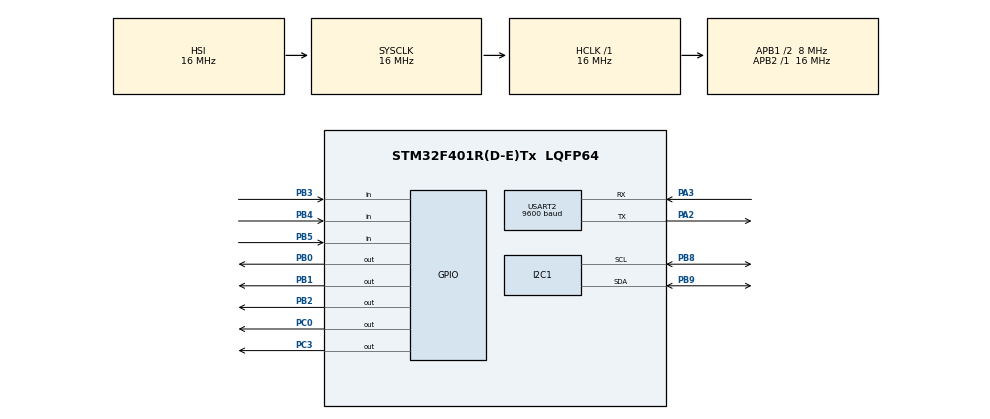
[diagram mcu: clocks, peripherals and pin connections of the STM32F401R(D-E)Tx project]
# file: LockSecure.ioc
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Mcu.Family=STM32F4
Mcu.Name=STM32F401R(D-E)Tx
Mcu.Package=LQFP64
NVIC.PriorityGroup=NVIC_PRIORITYGROUP_4
PA13.Mode=Serial_Wire
PA13.Signal=SYS_JTMS-SWDIO
PA14.Mode=Serial_Wire
PA14.Signal=SYS_JTCK-SWCLK
PA2.Mode=Asynchronous
PA2.Signal=USART2_TX
PA3.Mode=Asynchronous
PA3.Signal=USART2_RX
PB0.Signal=GPIO_Output
PB1.Signal=GPIO_Output
PB2.Signal=GPIO_Output
PB3.GPIO_PuPd=GPIO_PULLUP
PB3.Signal=GPIO_Input
PB4.GPIO_PuPd=GPIO_PULLUP
PB4.Signal=GPIO_Input
PB5.GPIO_PuPd=GPIO_PULLUP
PB5.Signal=GPIO_Input
PB8.Mode=I2C
PB8.Signal=I2C1_SCL
PB9.Mode=I2C
PB9.Signal=I2C1_SDA
PC0.Signal=GPIO_Output
PC3.Signal=GPIO_Output
ProjectManager.HeapSize=0x200
ProjectManager.StackSize=0x400
ProjectManager.TargetToolchain=STM32CubeIDE
RCC.48MHZClocksFreq_Value=84000000
RCC.AHBFreq_Value=16000000
RCC.APB1CLKDivider=RCC_HCLK_DIV2
RCC.APB1Freq_Value=8000000
RCC.APB1TimFreq_Value=16000000
RCC.APB2Freq_Value=16000000
RCC.APB2TimFreq_Value=16000000
RCC.CortexFreq_Value=16000000
RCC.HCLKFreq_Value=16000000
RCC.HSE_VALUE=25000000
RCC.HSI_VALUE=16000000
RCC.LSE_VALUE=32768
RCC.PLLN=336
RCC.PLLP=RCC_PLLP_DIV4
RCC.SYSCLKFreq_VALUE=16000000
RCC.VCOOutputFreq_Value=336000000
USART2.BaudRate=9600
USART2.VirtualMode=VM_ASYNC
board=custom

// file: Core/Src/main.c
/* USER CODE BEGIN Header */
/**
  ******************************************************************************
  * @file           : main.c
  * @brief          : Main program body
  ******************************************************************************
  * @attention
  *
  * Copyright (c) 2026 STMicroelectronics.
  * All rights reserved.
  *
  * This software is licensed under terms that can be found in the LICENSE file
  * in the root directory of this software component.
  * If no LICENSE file comes with this software, it is provided AS-IS.
  *
  ******************************************************************************
  */
/* USER CODE END Header */
#include "main.h"
#include "i2c.h"
#include "usart.h"
#include "gpio.h"

/* USER CODE BEGIN Includes */
#include <stdio.h>
#include <string.h>
#include "i2c-lcd.h"
#include "sha256.h"
/* USER CODE END Includes */

/* USER CODE BEGIN PV */
char current_password[] = "1234";
char input_buffer[5];
int input_index = 0;

typedef enum {
    LOCKED,
    UNLOCKED,
    CHANGING_PW
} LockState;

LockState system_state = LOCKED;
/* USER CODE END PV */

void SystemClock_Config(void);

/* USER CODE BEGIN 0 */
#ifdef __GNUC__
#define PUTCHAR_PROTOTYPE int __io_putchar(int ch)
#else
#define PUTCHAR_PROTOTYPE int fputc(int ch, FILE *f)
#endif

#define EEPROM_ADDR 0xA0
#define PASS_MEM_ADDR 0x0000
#define MAGIC_BYTE 0x5A

#define SYSTEM_SALT "fP#fSDYi047UD9"

uint8_t current_hash[32];
uint8_t input_hash[32];
char salted_buffer[64];

void save_hash(uint8_t* new_hash) {
    uint8_t buffer[33];
    buffer[0] = MAGIC_BYTE;
    memcpy(&buffer[1], new_hash, 32);

    // Spoon-feed the EEPROM to prevent Page Wrapping
    for(int i = 0; i < 33; i++) {
            HAL_I2C_Mem_Write(&hi2c1, EEPROM_ADDR, PASS_MEM_ADDR + i, I2C_MEMADD_SIZE_16BIT, &buffer[i], 1, 100);
            HAL_Delay(10); // Changed from 5 to 10 to safely beat the 6ms Proteus limit!
    }
}

void load_eeprom(uint8_t* buffer) {
    HAL_I2C_Mem_Read(&hi2c1, EEPROM_ADDR, PASS_MEM_ADDR, I2C_MEMADD_SIZE_16BIT, buffer, 33, 100);
}

void load_hash(uint8_t* hash_buf) {
    HAL_I2C_Mem_Read(&hi2c1, EEPROM_ADDR, PASS_MEM_ADDR, I2C_MEMADD_SIZE_16BIT, hash_buf, 32, 100);
}

PUTCHAR_PROTOTYPE
{
  HAL_UART_Transmit(&huart2, (uint8_t *)&ch, 1, HAL_MAX_DELAY);
  return ch;
}

char keypad_map[3][3] = {
    {'1', '2', '3'},
    {'4', '5', '6'},
    {'7', '8', '9'}
};

char scan_keypad(void) {
    for (int i = 0; i < 3; i++) {
        // Set all rows HIGH
        HAL_GPIO_WritePin(GPIOB, GPIO_PIN_0|GPIO_PIN_1|GPIO_PIN_2, GPIO_PIN_SET);
        // Pull the current row LOW
        HAL_GPIO_WritePin(GPIOB, (GPIO_PIN_0 << i), GPIO_PIN_RESET);

        // Check Columns
        if (HAL_GPIO_ReadPin(GPIOB, GPIO_PIN_3) == GPIO_PIN_RESET) {
            while(HAL_GPIO_ReadPin(GPIOB, GPIO_PIN_3) == GPIO_PIN_RESET);
            return keypad_map[i][0];
        }
        if (HAL_GPIO_ReadPin(GPIOB, GPIO_PIN_4) == GPIO_PIN_RESET) {
            while(HAL_GPIO_ReadPin(GPIOB, GPIO_PIN_4) == GPIO_PIN_RESET);
            return keypad_map[i][1];
        }
        if (HAL_GPIO_ReadPin(GPIOB, GPIO_PIN_5) == GPIO_PIN_RESET) {
            while(HAL_GPIO_ReadPin(GPIOB, GPIO_PIN_5) == GPIO_PIN_RESET);
            return keypad_map[i][2];
        }
    }
    return 0; // No key pressed
}

void save_password(char* new_pass) {

    HAL_I2C_Mem_Write(&hi2c1, EEPROM_ADDR, PASS_MEM_ADDR, I2C_MEMADD_SIZE_16BIT, (uint8_t*)new_pass, 5, 1000);
    HAL_Delay(10);
}

void load_password(char* pass_buf) {
    HAL_I2C_Mem_Read(&hi2c1, EEPROM_ADDR, PASS_MEM_ADDR, I2C_MEMADD_SIZE_16BIT, (uint8_t*)pass_buf, 5, 1000);
}

/* USER CODE END 0 */

int main(void)
{

  /* MCU Configuration--------------------------------------------------------*/

  /* Reset of all peripherals, Initializes the Flash interface and the Systick. */
  HAL_Init();

  /* Configure the system clock */
  SystemClock_Config();

  /* Initialize all configured peripherals */
  MX_GPIO_Init();
  MX_USART2_UART_Init();
  MX_I2C1_Init();
  /* USER CODE BEGIN 2 */

  //HAL_UART_Transmit(&huart2, (uint8_t*)"System Boot\r\n", 13, 100);
  //lcd_init();
  //lcd_send_string("System Ready");
  //HAL_Delay(1000);

  uint8_t eeprom_buffer[33];
    load_eeprom(eeprom_buffer);

    // Check the Magic Byte
    if (eeprom_buffer[0] != MAGIC_BYTE) {
        printf("EEPROM Blank/Corrupt. Initiating Factory Reset...\r\n");

        // 1. Generate the hash for the default PIN "1234"
        sprintf(salted_buffer, "%s%s", SYSTEM_SALT, "1234");

        SHA256_CTX ctx;
        sha256_init(&ctx);
        sha256_update(&ctx, (uint8_t*)salted_buffer, strlen(salted_buffer));
        sha256_final(&ctx, current_hash);

        // 2. Save the Magic Byte + Hash to the EEPROM
        save_hash(current_hash);

        printf("Factory Reset Complete: Default PW set to 1234\r\n");
    } else {
        // Magic Byte matched! Safely extract the 32-byte hash
        memcpy(current_hash, &eeprom_buffer[1], 32);
        printf("Boot: Password Hash loaded from EEPROM.\r\n");
    }

    // Ensure the door is physically locked and alarm is off on boot
    HAL_GPIO_WritePin(GPIOC, GPIO_PIN_0, GPIO_PIN_RESET);
    HAL_GPIO_WritePin(GPIOC, GPIO_PIN_3, GPIO_PIN_RESET);

    printf("\r\n--- SYSTEM LOCKED ---\r\nEnter 4-digit code:\r\n");

    printf("\r\n--- SYSTEM LOCKED ---\r\nEnter 4-digit code:\r\n");

    //lcd_clear();
    //lcd_send_string("Enter Password:");
    //lcd_send_cmd(0xC0);
  /* USER CODE END 2 */

  /* Infinite loop */
  /* USER CODE BEGIN WHILE */
  while (1)
  {
	  char key = scan_keypad();
	        if (key != 0) {
	        	if (system_state == LOCKED) {
	        	              input_buffer[input_index++] = key;
	        	              lcd_send_data('*');
	        	              printf("*"); // RESTORED: Terminal Lifeline

	        	              if (input_index == 4) {
	        	            	  input_buffer[4] = '\0';

	        	            	                    // --- CRYPTO: HASH THE INPUT ---
	        	            	                    sprintf(salted_buffer, "%s%s", SYSTEM_SALT, input_buffer);
	        	            	                    SHA256_CTX ctx;
	        	            	                    sha256_init(&ctx);
	        	            	                    sha256_update(&ctx, (uint8_t*)salted_buffer, strlen(salted_buffer));
	        	            	                    sha256_final(&ctx, input_hash);
	        	            	                    // ------------------------------

	        	            	                    lcd_clear();

	        	            	                    // Compare 32-byte hashes using memcmp
	        	            	                    if (memcmp(input_hash, current_hash, 32) == 0) {
	        	            	                        system_state = UNLOCKED;

	        	            	                        // HARDWARE ACTUATION: UNLOCK (Relay ON)
	        	            	                        HAL_GPIO_WritePin(GPIOC, GPIO_PIN_0, GPIO_PIN_SET);

	        	            	                        lcd_send_string("ACCESS GRANTED");
	        	            	                        printf("\r\nACCESS GRANTED! Door Unlocked.\r\n");
	        	            	                        printf("Menu: 1:Lock | 9:Change PW\r\n");
	        	            	                        HAL_Delay(1500);

	        	            	                        lcd_clear();
	        	            	                        lcd_send_string("1:Lock 9:Change");
	        	            	                    } else {
	        	            	                        lcd_send_string("ACCESS DENIED");
	        	            	                        printf("\r\nACCESS DENIED!\r\n");

	        	            	                        HAL_GPIO_WritePin(GPIOC, GPIO_PIN_3, GPIO_PIN_SET);

	        	            	                        HAL_Delay(1500);

	        	            	                        HAL_GPIO_WritePin(GPIOC, GPIO_PIN_3, GPIO_PIN_RESET);

	        	            	                        lcd_clear();
	        	            	                        lcd_send_string("Enter Password:");
	        	            	                        lcd_send_cmd(0xC0);
	        	                  }
	        	                  input_index = 0;
	        	              }
	        	          }

	        	          else if (system_state == UNLOCKED) {
	        	        	  if (key == '1') {
	        	        	                    system_state = LOCKED;

	        	        	                    // HARDWARE ACTUATION: LOCK (Relay OFF)
	        	        	                    HAL_GPIO_WritePin(GPIOC, GPIO_PIN_0, GPIO_PIN_RESET);

	        	        	                    lcd_clear();
	        	        	                    lcd_send_string("Enter Password:");
	        	        	                    lcd_send_cmd(0xC0);
	        	        	                    printf("\r\n--- SYSTEM LOCKED ---\r\nEnter 4-digit code:\r\n");
	        	        	                }
	        	        	                else if (key == '9') {
	        	        	                    system_state = CHANGING_PW;
	        	        	                    input_index = 0;

	        	        	                    lcd_clear();
	        	        	                    lcd_send_string("New Password:");
	        	        	                    lcd_send_cmd(0xC0);
	        	        	                    printf("\r\n--- ADMIN MODE ---\r\nEnter NEW 4-digit code:\r\n");
	        	        	                }
	        	          }

	        	          else if (system_state == CHANGING_PW) {
	        	        	  input_buffer[input_index++] = key;
	        	        	                lcd_send_data(key); // Standard UI: show new digits briefly
	        	        	                printf("%c", key);

	        	        	                if (input_index == 4) {
	        	        	                    input_buffer[4] = '\0';

	        	        	                    // --- CRYPTO: HASH NEW PASSWORD & SAVE ---
	        	        	                    sprintf(salted_buffer, "%s%s", SYSTEM_SALT, input_buffer);
	        	        	                    SHA256_CTX ctx;
	        	        	                    sha256_init(&ctx);
	        	        	                    sha256_update(&ctx, (uint8_t*)salted_buffer, strlen(salted_buffer));
	        	        	                    sha256_final(&ctx, current_hash); // Save straight to memory array

	        	        	                    save_hash(current_hash); // Burn 32 bytes to EEPROM
	        	        	                    // ----------------------------------------

	        	        	                    system_state = UNLOCKED;

	        	        	                    lcd_clear();
	        	        	                    lcd_send_string("PW Updated!");
	        	        	                    printf("\r\nPassword Hash successfully updated in EEPROM!\r\n");
	        	        	                    printf("Menu: 1:Lock | 9:Change PW\r\n");
	        	        	                    HAL_Delay(1500);

	        	        	                    lcd_clear();
	        	        	                    lcd_send_string("1:Lock 9:Change");
	        	        	                    input_index = 0;
	        	              }
	        	          }
	        }

	        HAL_GPIO_WritePin(GPIOB, GPIO_PIN_0|GPIO_PIN_1|GPIO_PIN_2, GPIO_PIN_RESET);
	        HAL_Delay(20);
    /* USER CODE END WHILE */

  }
}

void SystemClock_Config(void)
{
  RCC_OscInitTypeDef RCC_OscInitStruct = {0};
  RCC_ClkInitTypeDef RCC_ClkInitStruct = {0};

  /** Configure the main internal regulator output voltage
  */
  __HAL_RCC_PWR_CLK_ENABLE();
  __HAL_PWR_VOLTAGESCALING_CONFIG(PWR_REGULATOR_VOLTAGE_SCALE2);

  /** Initializes the RCC Oscillators according to the specified parameters
  * in the RCC_OscInitTypeDef structure.
  */
  RCC_OscInitStruct.OscillatorType = RCC_OSCILLATORTYPE_HSI;
  RCC_OscInitStruct.HSIState = RCC_HSI_ON;
  RCC_OscInitStruct.HSICalibrationValue = RCC_HSICALIBRATION_DEFAULT;
  RCC_OscInitStruct.PLL.PLLState = RCC_PLL_NONE;
  if (HAL_RCC_OscConfig(&RCC_OscInitStruct) != HAL_OK)
  {
    Error_Handler();
  }

  /** Initializes the CPU, AHB and APB buses clocks
  */
  RCC_ClkInitStruct.ClockType = RCC_CLOCKTYPE_HCLK|RCC_CLOCKTYPE_SYSCLK
                              |RCC_CLOCKTYPE_PCLK1|RCC_CLOCKTYPE_PCLK2;
  RCC_ClkInitStruct.SYSCLKSource = RCC_SYSCLKSOURCE_HSI;
  RCC_ClkInitStruct.AHBCLKDivider = RCC_SYSCLK_DIV1;
  RCC_ClkInitStruct.APB1CLKDivider = RCC_HCLK_DIV2;
  RCC_ClkInitStruct.APB2CLKDivider = RCC_HCLK_DIV1;

  if (HAL_RCC_ClockConfig(&RCC_ClkInitStruct, FLASH_LATENCY_0) != HAL_OK)
  {
    Error_Handler();
  }
}

void Error_Handler(void)
{
  __disable_irq();
  while (1)
  {
  }
}
